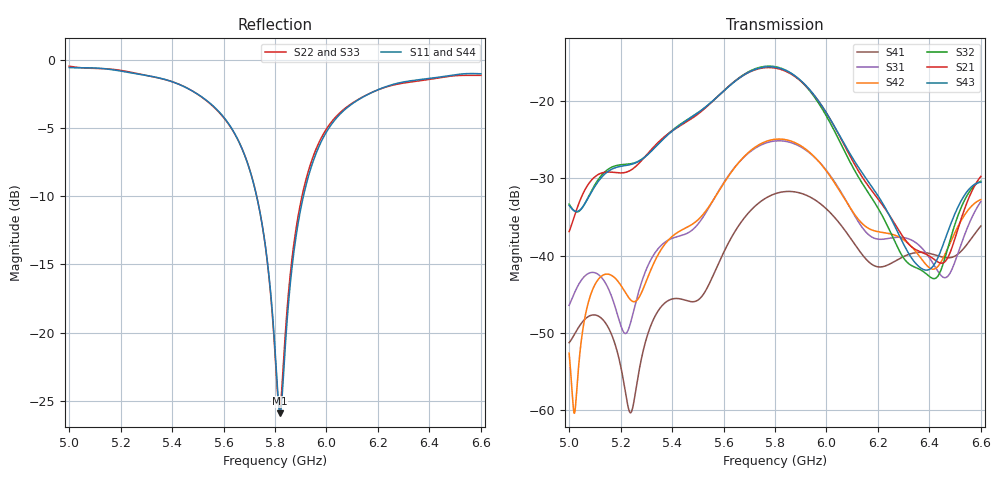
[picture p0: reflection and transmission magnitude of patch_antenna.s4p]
! TOUCHSTONE file generated by CST MICROWAVE STUDIO
! Date and time: Thu Sep  3 12:05:54 2026
! Project name: patch_antenna.cst
! Parameters = {InL=5.33; InW=0.26; ML=6.125; MW=2.6; Mt=0.035; PL=12.75; PW=20; SH=1.2; SL=25; SW=30; k=5.09}
! Header version: 2024
! Port assignment regex: !\s*Touchstone port\s*([0-9]+)\s*=\s*(CST MWS port|CST DES external port|CST DES block port)\s*(.+)\s* \(\"(.*)\"\)(\s*mode\s*([0-9]+))?.*
! Touchstone port assignment:
! Touchstone port 1 = CST MWS port 1 ("")
! Touchstone port 2 = CST MWS port 2 ("")
! Touchstone port 3 = CST MWS port 3 ("")
! Touchstone port 4 = CST MWS port 4 ("")
# GHz S RI R 50
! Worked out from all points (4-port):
!   1001 points, 5 GHz to 6.6 GHz, reference 50 ohm
!   strongest paths, dB at 5 GHz, 5.4 GHz, 5.8 GHz, 6.2 GHz, 6.6 GHz:
!     S43: -33.5, -23.9, -15.6, -32.3, -30.5
!     S21: -36.9, -23.9, -15.7, -32.7, -29.8
!     S32: -33.3, -23.8, -15.6, -33.9, -30.4
!     S42: -52.6, -37.5, -25.0, -36.9, -32.8
!     S31: -46.4, -37.8, -25.2, -37.9, -33.0
!     S41: -51.3, -45.6, -32.0, -41.5, -36.2
!   lowest |S11| = -25.9 dB at 5.819 GHz (marker M1), VSWR 1.11, Z = 48.2 + j4.63 ohm
!   |S11| at or under -10 dB: 5.729 GHz to 5.91 GHz (181.7 MHz wide, 3.12 % of centre)
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5  0.7052 -0.617  -0.0196 0.00814  0.000683 -0.00221  0.00128 0.0016
   -0.0143 0.000522  0.7067 -0.6314  -0.0195 0.00915  -0.00217 -0.00168
   -0.00396 0.00265  -0.0195 0.00915  0.7067 -0.6314  -0.0159 0.00678
   0.00255 -0.000983  0.000653 -0.00224  -0.0195 0.00821  0.7048 -0.6246
5.24  0.4119 -0.7955  -0.0293 0.0257  0.00509 -0.000947  -0.00128 0.00106
      -0.0277 0.0226  0.408 -0.8026  -0.0288 0.0266  0.004 -0.000285
      0.00357 0.0011  -0.0288 0.0266  0.408 -0.8026  -0.0279 0.0245
      -0.000935 0.00023  0.00505 -0.000967  -0.0291 0.0257  0.4107 -0.7985
5.6352  -0.2833 -0.4754  0.0853 0.0982  -0.0109 -0.0338  0.00485 0.0123
        0.086 0.0982  -0.281 -0.4749  0.0868 0.0976  -0.0114 -0.0334
        -0.0116 -0.0338  0.0868 0.0976  -0.2809 -0.475  0.0858 0.0975
        0.00504 0.0125  -0.011 -0.0338  0.0855 0.098  -0.2823 -0.476
5.8192  -0.0162 0.048  0.1255 -0.1029  -0.0414 0.0385  0.0156 -0.0207
        0.1235 -0.1024  -0.0086 0.0522  0.1222 -0.1087  -0.0396 0.0392
        -0.0396 0.0385  0.1222 -0.1087  -0.00878 0.0522  0.1233 -0.104
        0.0154 -0.0205  -0.0412 0.0389  0.125 -0.104  -0.0121 0.0442
5.9696  0.4529 -0.153  -0.0444 -0.089  0.0327 0.024  -0.0206 -0.00752
        -0.0448 -0.0889  0.4612 -0.1783  -0.0499 -0.0828  0.0333 0.0229
        0.033 0.0237  -0.0498 -0.0828  0.4612 -0.1782  -0.0457 -0.0878
        -0.0206 -0.00784  0.033 0.0237  -0.0455 -0.0886  0.4524 -0.1661
6.4064  -0.0485 -0.8544  0.00803 0.00216  -0.00776 -0.00212  0.00917 -0.00191
        0.00973 -0.000897  -0.0651 -0.8473  0.00696 -0.00192  -0.00826 -0.00136
        -0.00932 -6.59e-05  0.00693 -0.00194  -0.0651 -0.8473  0.00807 0.00126
        0.00994 -0.00257  -0.00789 -0.00229  0.00784 0.00261  -0.0632 -0.8562
6.6  -0.4146 -0.786  0.0164 -0.0241  -0.00893 0.0198  -0.00226 -0.017
     0.0238 -0.0221  -0.4163 -0.7721  0.0174 -0.0248  -0.0105 0.0207
     -0.0143 0.0171  0.0173 -0.0247  -0.4163 -0.772  0.0193 -0.0243
     0.000207 -0.0155  -0.00915 0.0211  0.0175 -0.0241  -0.4228 -0.7792
